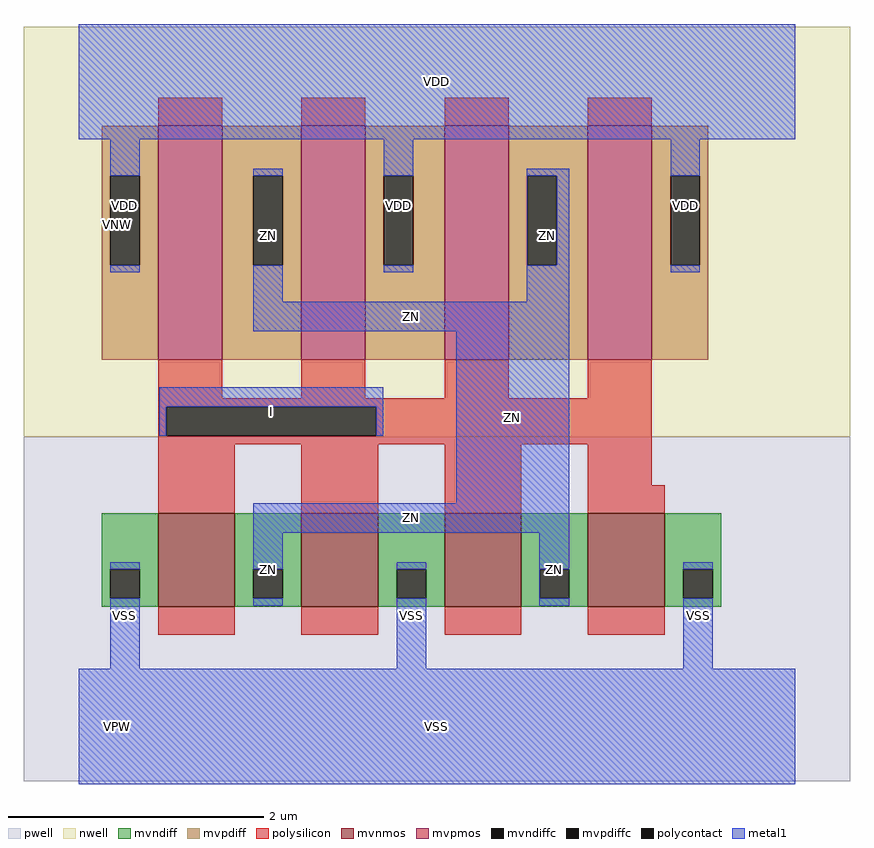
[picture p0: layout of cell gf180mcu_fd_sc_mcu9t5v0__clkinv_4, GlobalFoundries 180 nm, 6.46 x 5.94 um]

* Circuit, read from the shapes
.subckt gf180mcu_fd_sc_mcu9t5v0__clkinv_4 I ZN VDD VNW VPW VSS
XM1 ZN I VSS VPW nfet_06v0 w=0.73u l=0.6u m=4
XM2 ZN I VDD VNW pfet_06v0 w=1.83u l=0.5u m=4
.ends

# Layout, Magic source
magic
tech gf180mcuD
magscale 1 10
<< nwell >>
rect -86 453 1206 1094
<< pwell >>
rect -86 -86 1206 453
<< mvnmos >>
rect 124 187 244 333
rect 348 187 468 333
rect 572 187 692 333
rect 796 187 916 333
<< mvpmos >>
rect 124 573 224 939
rect 348 573 448 939
rect 572 573 672 939
rect 796 573 896 939
<< mvndiff >>
rect 36 246 124 333
rect 36 200 49 246
rect 95 200 124 246
rect 36 187 124 200
rect 244 246 348 333
rect 244 200 273 246
rect 319 200 348 246
rect 244 187 348 200
rect 468 246 572 333
rect 468 200 497 246
rect 543 200 572 246
rect 468 187 572 200
rect 692 246 796 333
rect 692 200 721 246
rect 767 200 796 246
rect 692 187 796 200
rect 916 246 1004 333
rect 916 200 945 246
rect 991 200 1004 246
rect 916 187 1004 200
<< mvpdiff >>
rect 36 861 124 939
rect 36 721 49 861
rect 95 721 124 861
rect 36 573 124 721
rect 224 861 348 939
rect 224 721 273 861
rect 319 721 348 861
rect 224 573 348 721
rect 448 861 572 939
rect 448 721 477 861
rect 523 721 572 861
rect 448 573 572 721
rect 672 861 796 939
rect 672 721 701 861
rect 747 721 796 861
rect 672 573 796 721
rect 896 861 984 939
rect 896 721 925 861
rect 971 721 984 861
rect 896 573 984 721
<< mvndiffc >>
rect 49 200 95 246
rect 273 200 319 246
rect 497 200 543 246
rect 721 200 767 246
rect 945 200 991 246
<< mvpdiffc >>
rect 49 721 95 861
rect 273 721 319 861
rect 477 721 523 861
rect 701 721 747 861
rect 925 721 971 861
<< polysilicon >>
rect 124 939 224 983
rect 348 939 448 983
rect 572 939 672 983
rect 796 939 896 983
rect 124 513 224 573
rect 348 513 448 573
rect 572 513 672 573
rect 796 513 896 573
rect 124 500 896 513
rect 124 454 137 500
rect 465 454 896 500
rect 124 441 896 454
rect 124 333 244 441
rect 348 333 468 441
rect 572 333 692 441
rect 796 377 896 441
rect 796 333 916 377
rect 124 143 244 187
rect 348 143 468 187
rect 572 143 692 187
rect 796 143 916 187
<< polycontact >>
rect 137 454 465 500
<< metal1 >>
rect 0 918 1120 1098
rect 49 861 95 918
rect 49 710 95 721
rect 273 861 319 872
rect 273 664 319 721
rect 477 861 523 918
rect 477 710 523 721
rect 700 861 767 872
rect 700 721 701 861
rect 747 721 767 861
rect 700 664 767 721
rect 925 861 971 918
rect 925 710 971 721
rect 273 618 767 664
rect 126 500 476 530
rect 126 454 137 500
rect 465 454 476 500
rect 590 349 767 618
rect 273 303 767 349
rect 49 246 95 257
rect 49 90 95 200
rect 273 246 319 303
rect 273 189 319 200
rect 497 246 543 257
rect 497 90 543 200
rect 720 246 767 303
rect 720 200 721 246
rect 720 189 767 200
rect 945 246 991 257
rect 945 90 991 200
rect 0 -90 1120 90
<< labels >>
flabel metal1 s 126 454 476 530 0 FreeSans 200 0 0 0 I
port 1 nsew default input
flabel metal1 s 0 918 1120 1098 0 FreeSans 200 0 0 0 VDD
port 3 nsew power bidirectional abutment
flabel metal1 s 945 90 991 257 0 FreeSans 200 0 0 0 VSS
port 6 nsew ground bidirectional abutment
flabel metal1 s 700 664 767 872 0 FreeSans 200 0 0 0 ZN
port 2 nsew default output
flabel nwell s 10 734 110 834 0 FreeSans 400 0 0 0 VNW
port 4 nsew power bidirectional
flabel pwell s 10 -50 110 50 0 FreeSans 400 0 0 0 VPW
port 5 nsew ground bidirectional
rlabel metal1 s 273 664 319 872 1 ZN
port 2 nsew default output
rlabel metal1 s 273 618 767 664 1 ZN
port 2 nsew default output
rlabel metal1 s 590 349 767 618 1 ZN
port 2 nsew default output
rlabel metal1 s 273 303 767 349 1 ZN
port 2 nsew default output
rlabel metal1 s 720 189 767 303 1 ZN
port 2 nsew default output
rlabel metal1 s 273 189 319 303 1 ZN
port 2 nsew default output
rlabel metal1 s 925 710 971 918 1 VDD
port 3 nsew power bidirectional abutment
rlabel metal1 s 477 710 523 918 1 VDD
port 3 nsew power bidirectional abutment
rlabel metal1 s 49 710 95 918 1 VDD
port 3 nsew power bidirectional abutment
rlabel metal1 s 497 90 543 257 1 VSS
port 6 nsew ground bidirectional abutment
rlabel metal1 s 49 90 95 257 1 VSS
port 6 nsew ground bidirectional abutment
rlabel metal1 s 0 -90 1120 90 1 VSS
port 6 nsew ground bidirectional abutment
<< properties >>
string FIXED_BBOX 0 0 1120 1008
string GDS_END 1452694
string GDS_FILE $PDKPATH/libs.ref/gf180mcu_fd_sc_mcu9t5v0/gds/gf180mcu_fd_sc_mcu9t5v0.gds
string GDS_START 1449376
string LEFclass core
string LEFsite GF018hv5v_green_sc9
string LEFsymmetry X Y
<< end >>
